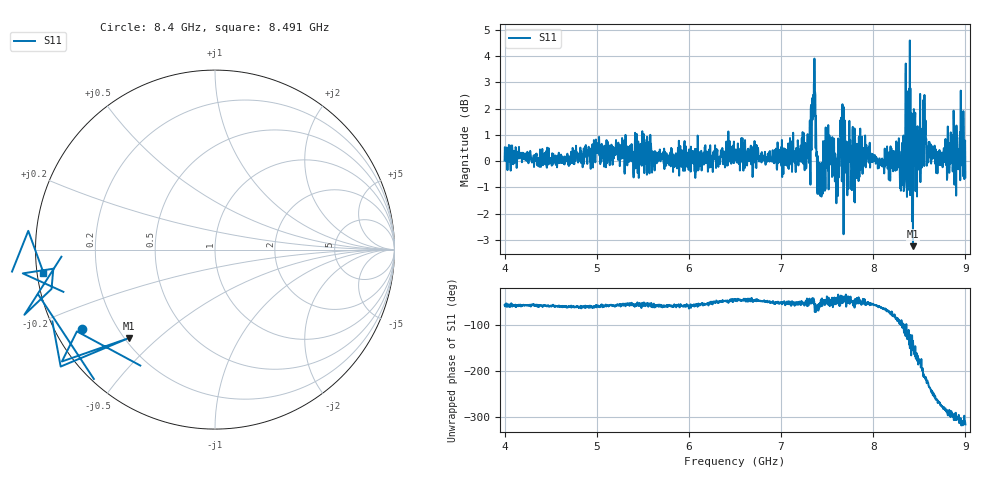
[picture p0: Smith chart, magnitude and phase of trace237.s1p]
! Created with skrf 1.8.0 (http://scikit-rf.org).
# Hz S RI R 50.0
!freq ReS11 ImS11
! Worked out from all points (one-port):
!   1601 points, 4 GHz to 9 GHz, reference 50 ohm
!   lowest |S11| = -3.2 dB at 8.431 GHz (marker M1), VSWR 5.43, Z = 10.8 - j20.2 ohm
!   |S11| at or under -10 dB: nowhere
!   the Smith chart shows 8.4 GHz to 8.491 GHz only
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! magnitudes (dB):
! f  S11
! 4 GHz  0.0
! 4.625 GHz  -0.1
! 5.25 GHz  -0.2
! 5.875 GHz  0.1
! 6.5 GHz  0.1
! 7.125 GHz  0.7
! 7.294 GHz  0.1
! 7.347 GHz  2.0
! 7.362 GHz  3.9
! 7.4 GHz  0.2
! 7.416 GHz  -1.0
! 7.509 GHz  -0.4
! 7.609 GHz  -0.4
! 7.669 GHz  1.2
! 7.703 GHz  0.5
! 7.75 GHz  0.8
! 8.253 GHz  0.0
! 8.316 GHz  0.6
! 8.334 GHz  -1.0
! 8.375 GHz  0.9
! 8.394 GHz  -0.4
! 8.406 GHz  -0.2
! 8.431 GHz  -3.2
! 8.559 GHz  0.7
! 8.606 GHz  0.4
! 8.812 GHz  0.1
! 8.956 GHz  0.2
! 9 GHz  -0.6
